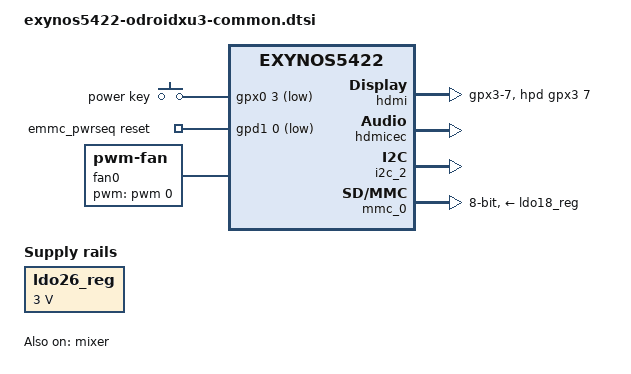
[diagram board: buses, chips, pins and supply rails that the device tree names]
// SPDX-License-Identifier: GPL-2.0
/*
 * Hardkernel Odroid XU3/XU3-Lite/XU4 boards common device tree source
 *
 * Copyright (c) 2013 Samsung Electronics Co., Ltd.
 *		http://www.samsung.com
 * Copyright (c) 2014 Collabora Ltd.
 * Copyright (c) 2015 Lukasz Majewski <l.majewski@samsung.com>
 *                    Anand Moon <linux.amoon@gmail.com>
 */

#include <dt-bindings/input/input.h>
#include "exynos5422-odroid-core.dtsi"

/ {
	gpio-keys {
		compatible = "gpio-keys";
		pinctrl-names = "default";
		pinctrl-0 = <&power_key>;

		power-key {
			/*
			 * The power button (SW2) is connected to the PWRON
			 * pin (active high) of the S2MPS11 PMIC, which acts
			 * as a 16ms debouce filter and signal inverter with
			 * output on ONOB pin (active low). ONOB PMIC pin is
			 * then connected to XEINT3 SoC pin.
			 */
			gpios = <&gpx0 3 GPIO_ACTIVE_LOW>;
			linux,code = <KEY_POWER>;
			label = "power key";
			debounce-interval = <0>;
			wakeup-source;
		};
	};

	emmc_pwrseq: pwrseq {
		pinctrl-0 = <&emmc_nrst_pin>;
		pinctrl-names = "default";
		compatible = "mmc-pwrseq-emmc";
		reset-gpios = <&gpd1 0 GPIO_ACTIVE_LOW>;
	};

	fan0: pwm-fan {
		compatible = "pwm-fan";
		pwms = <&pwm 0 20972 0>;
		#cooling-cells = <2>;
		cooling-levels = <0 130 170 230>;
	};

	thermal-zones {
		cpu0_thermal: cpu0-thermal {
			thermal-sensors = <&tmu_cpu0>;
			polling-delay-passive = <250>;
			polling-delay = <0>;
			trips {
				cpu0_alert0: cpu-alert-0 {
					temperature = <50000>; /* millicelsius */
					hysteresis = <5000>; /* millicelsius */
					type = "active";
				};
				cpu0_alert1: cpu-alert-1 {
					temperature = <60000>; /* millicelsius */
					hysteresis = <5000>; /* millicelsius */
					type = "active";
				};
				cpu0_alert2: cpu-alert-2 {
					temperature = <70000>; /* millicelsius */
					hysteresis = <5000>; /* millicelsius */
					type = "active";
				};
				cpu0_crit0: cpu-crit-0 {
					temperature = <120000>; /* millicelsius */
					hysteresis = <0>; /* millicelsius */
					type = "critical";
				};
				/*
				 * Exynos542x supports only 4 trip-points
				 * so for these polling mode is required.
				 * Start polling at temperature level of last
				 * interrupt-driven trip: cpu0_alert2
				 */
				cpu0_alert3: cpu-alert-3 {
					temperature = <70000>; /* millicelsius */
					hysteresis = <10000>; /* millicelsius */
					type = "passive";
				};
				cpu0_alert4: cpu-alert-4 {
					temperature = <85000>; /* millicelsius */
					hysteresis = <10000>; /* millicelsius */
					type = "passive";
				};
			};
			cooling-maps {
				map0 {
					trip = <&cpu0_alert0>;
					cooling-device = <&fan0 0 1>;
				};
				map1 {
					trip = <&cpu0_alert1>;
					cooling-device = <&fan0 1 2>;
				};
				map2 {
					trip = <&cpu0_alert2>;
					cooling-device = <&fan0 2 3>;
				};
				/*
				 * When reaching cpu0_alert3, reduce CPU
				 * by 2 steps. On Exynos5422/5800 that would
				 * (usually) be: 1800 MHz and 1200 MHz.
				 */
				map3 {
					trip = <&cpu0_alert3>;
					cooling-device = <&cpu0 0 2>,
							 <&cpu1 0 2>,
							 <&cpu2 0 2>,
							 <&cpu3 0 2>,
							 <&cpu4 0 2>,
							 <&cpu5 0 2>,
							 <&cpu6 0 2>,
							 <&cpu7 0 2>;
				};
				/*
				 * When reaching cpu0_alert4, reduce CPU
				 * further, down to 600 MHz (14 steps for big,
				 * 8 steps for LITTLE).
				 */
				cpu0_cooling_map4: map4 {
					trip = <&cpu0_alert4>;
					cooling-device = <&cpu0 3 8>,
							 <&cpu1 3 8>,
							 <&cpu2 3 8>,
							 <&cpu3 3 8>,
							 <&cpu4 3 14>,
							 <&cpu5 3 14>,
							 <&cpu6 3 14>,
							 <&cpu7 3 14>;
				};
			};
		};
		cpu1_thermal: cpu1-thermal {
			thermal-sensors = <&tmu_cpu1>;
			polling-delay-passive = <250>;
			polling-delay = <0>;
			trips {
				cpu1_alert0: cpu-alert-0 {
					temperature = <50000>;
					hysteresis = <5000>;
					type = "active";
				};
				cpu1_alert1: cpu-alert-1 {
					temperature = <60000>;
					hysteresis = <5000>;
					type = "active";
				};
				cpu1_alert2: cpu-alert-2 {
					temperature = <70000>;
					hysteresis = <5000>;
					type = "active";
				};
				cpu1_crit0: cpu-crit-0 {
					temperature = <120000>;
					hysteresis = <0>;
					type = "critical";
				};
				cpu1_alert3: cpu-alert-3 {
					temperature = <70000>;
					hysteresis = <10000>;
					type = "passive";
				};
				cpu1_alert4: cpu-alert-4 {
					temperature = <85000>;
					hysteresis = <10000>;
					type = "passive";
				};
			};
			cooling-maps {
				map0 {
					trip = <&cpu1_alert0>;
					cooling-device = <&fan0 0 1>;
				};
				map1 {
					trip = <&cpu1_alert1>;
					cooling-device = <&fan0 1 2>;
				};
				map2 {
					trip = <&cpu1_alert2>;
					cooling-device = <&fan0 2 3>;
				};
				map3 {
					trip = <&cpu1_alert3>;
					cooling-device = <&cpu0 0 2>,
							 <&cpu1 0 2>,
							 <&cpu2 0 2>,
							 <&cpu3 0 2>,
							 <&cpu4 0 2>,
							 <&cpu5 0 2>,
							 <&cpu6 0 2>,
							 <&cpu7 0 2>;
				};
				cpu1_cooling_map4: map4 {
					trip = <&cpu1_alert4>;
					cooling-device = <&cpu0 3 8>,
							 <&cpu1 3 8>,
							 <&cpu2 3 8>,
							 <&cpu3 3 8>,
							 <&cpu4 3 14>,
							 <&cpu5 3 14>,
							 <&cpu6 3 14>,
							 <&cpu7 3 14>;
				};
			};
		};
		cpu2_thermal: cpu2-thermal {
			thermal-sensors = <&tmu_cpu2>;
			polling-delay-passive = <250>;
			polling-delay = <0>;
			trips {
				cpu2_alert0: cpu-alert-0 {
					temperature = <50000>;
					hysteresis = <5000>;
					type = "active";
				};
				cpu2_alert1: cpu-alert-1 {
					temperature = <60000>;
					hysteresis = <5000>;
					type = "active";
				};
				cpu2_alert2: cpu-alert-2 {
					temperature = <70000>;
					hysteresis = <5000>;
					type = "active";
				};
				cpu2_crit0: cpu-crit-0 {
					temperature = <120000>;
					hysteresis = <0>;
					type = "critical";
				};
				cpu2_alert3: cpu-alert-3 {
					temperature = <70000>;
					hysteresis = <10000>;
					type = "passive";
				};
				cpu2_alert4: cpu-alert-4 {
					temperature = <85000>;
					hysteresis = <10000>;
					type = "passive";
				};
			};
			cooling-maps {
				map0 {
					trip = <&cpu2_alert0>;
					cooling-device = <&fan0 0 1>;
				};
				map1 {
					trip = <&cpu2_alert1>;
					cooling-device = <&fan0 1 2>;
				};
				map2 {
					trip = <&cpu2_alert2>;
					cooling-device = <&fan0 2 3>;
				};
				map3 {
					trip = <&cpu2_alert3>;
					cooling-device = <&cpu0 0 2>,
							 <&cpu1 0 2>,
							 <&cpu2 0 2>,
							 <&cpu3 0 2>,
							 <&cpu4 0 2>,
							 <&cpu5 0 2>,
							 <&cpu6 0 2>,
							 <&cpu7 0 2>;
				};
				cpu2_cooling_map4: map4 {
					trip = <&cpu2_alert4>;
					cooling-device = <&cpu0 3 8>,
							 <&cpu1 3 8>,
							 <&cpu2 3 8>,
							 <&cpu3 3 8>,
							 <&cpu4 3 14>,
							 <&cpu5 3 14>,
							 <&cpu6 3 14>,
							 <&cpu7 3 14>;
				};
			};
		};
		cpu3_thermal: cpu3-thermal {
			thermal-sensors = <&tmu_cpu3>;
			polling-delay-passive = <250>;
			polling-delay = <0>;
			trips {
				cpu3_alert0: cpu-alert-0 {
					temperature = <50000>;
					hysteresis = <5000>;
					type = "active";
				};
				cpu3_alert1: cpu-alert-1 {
					temperature = <60000>;
					hysteresis = <5000>;
					type = "active";
				};
				cpu3_alert2: cpu-alert-2 {
					temperature = <70000>;
					hysteresis = <5000>;
					type = "active";
				};
				cpu3_crit0: cpu-crit-0 {
					temperature = <120000>;
					hysteresis = <0>;
					type = "critical";
				};
				cpu3_alert3: cpu-alert-3 {
					temperature = <70000>;
					hysteresis = <10000>;
					type = "passive";
				};
				cpu3_alert4: cpu-alert-4 {
					temperature = <85000>;
					hysteresis = <10000>;
					type = "passive";
				};
			};
			cooling-maps {
				map0 {
					trip = <&cpu3_alert0>;
					cooling-device = <&fan0 0 1>;
				};
				map1 {
					trip = <&cpu3_alert1>;
					cooling-device = <&fan0 1 2>;
				};
				map2 {
					trip = <&cpu3_alert2>;
					cooling-device = <&fan0 2 3>;
				};
				map3 {
					trip = <&cpu3_alert3>;
					cooling-device = <&cpu0 0 2>,
							 <&cpu1 0 2>,
							 <&cpu2 0 2>,
							 <&cpu3 0 2>,
							 <&cpu4 0 2>,
							 <&cpu5 0 2>,
							 <&cpu6 0 2>,
							 <&cpu7 0 2>;
				};
				cpu3_cooling_map4: map4 {
					trip = <&cpu3_alert4>;
					cooling-device = <&cpu0 3 8>,
							 <&cpu1 3 8>,
							 <&cpu2 3 8>,
							 <&cpu3 3 8>,
							 <&cpu4 3 14>,
							 <&cpu5 3 14>,
							 <&cpu6 3 14>,
							 <&cpu7 3 14>;
				};
			};
		};
		gpu_thermal: gpu-thermal {
			thermal-sensors = <&tmu_gpu>;
			polling-delay-passive = <250>;
			polling-delay = <0>;
			trips {
				gpu_alert0: gpu-alert-0 {
					temperature = <50000>;
					hysteresis = <5000>;
					type = "active";
				};
				gpu_alert1: gpu-alert-1 {
					temperature = <60000>;
					hysteresis = <5000>;
					type = "active";
				};
				gpu_alert2: gpu-alert-2 {
					temperature = <70000>;
					hysteresis = <5000>;
					type = "active";
				};
				gpu_crit0: gpu-crit-0 {
					temperature = <120000>;
					hysteresis = <0>;
					type = "critical";
				};
				gpu_alert3: gpu-alert-3 {
					temperature = <70000>;
					hysteresis = <10000>;
					type = "passive";
				};
				gpu_alert4: gpu-alert-4 {
					temperature = <85000>;
					hysteresis = <10000>;
					type = "passive";
				};
			};
			cooling-maps {
				map0 {
					trip = <&gpu_alert0>;
					cooling-device = <&fan0 0 1>;
				};
				map1 {
					trip = <&gpu_alert1>;
					cooling-device = <&fan0 1 2>;
				};
				map2 {
					trip = <&gpu_alert2>;
					cooling-device = <&fan0 2 3>;
				};
				map3 {
					trip = <&gpu_alert3>;
					cooling-device = <&gpu 0 2>;
				};
				map4 {
					trip = <&gpu_alert4>;
					cooling-device = <&gpu 3 6>;
				};
			};
		};
	};
};

&buck10_reg {
	/* Supplies vmmc-supply of mmc_0 */
	regulator-always-on;
	regulator-boot-on;
};

&hdmi {
	status = "okay";
	ddc = <&i2c_2>;
	hpd-gpios = <&gpx3 7 GPIO_ACTIVE_HIGH>;
	pinctrl-names = "default";
	pinctrl-0 = <&hdmi_hpd_irq>;

	vdd_osc-supply = <&ldo7_reg>;
	vdd_pll-supply = <&ldo6_reg>;
	vdd-supply = <&ldo6_reg>;
};

&hdmicec {
	status = "okay";
	needs-hpd;
};

&i2c_2 {
	samsung,i2c-sda-delay = <100>;
	samsung,i2c-max-bus-freq = <66000>;
	/* used by HDMI DDC */
	status = "okay";
};

&ldo26_reg {
	regulator-min-microvolt = <3000000>;
	regulator-max-microvolt = <3000000>;
	regulator-always-on;
};

&mixer {
	status = "okay";
};

&mmc_0 {
	status = "okay";
	mmc-pwrseq = <&emmc_pwrseq>;
	card-detect-delay = <200>;
	samsung,dw-mshc-ciu-div = <3>;
	samsung,dw-mshc-sdr-timing = <0 4>;
	samsung,dw-mshc-ddr-timing = <0 2>;
	samsung,dw-mshc-hs400-timing = <0 2>;
	samsung,read-strobe-delay = <90>;
	pinctrl-names = "default";
	pinctrl-0 = <&sd0_clk &sd0_cmd &sd0_bus1 &sd0_bus4 &sd0_bus8 &sd0_cd &sd0_rclk>;
	bus-width = <8>;
	cap-mmc-highspeed;
	mmc-hs200-1_8v;
	mmc-hs400-1_8v;
	max-frequency = <200000000>;
	vmmc-supply = <&ldo18_reg>;
	vqmmc-supply = <&ldo3_reg>;
};

&pinctrl_0 {
	power_key: power-key-pins {
		samsung,pins = "gpx0-3";
		samsung,pin-function = <EXYNOS_PIN_FUNC_INPUT>;
		samsung,pin-pud = <EXYNOS_PIN_PULL_NONE>;
		samsung,pin-drv = <EXYNOS5420_PIN_DRV_LV1>;
	};

	hdmi_hpd_irq: hdmi-hpd-irq-pins {
		samsung,pins = "gpx3-7";
		samsung,pin-function = <EXYNOS_PIN_FUNC_INPUT>;
		samsung,pin-pud = <EXYNOS_PIN_PULL_DOWN>;
		samsung,pin-drv = <EXYNOS5420_PIN_DRV_LV1>;
	};
};

&pinctrl_1 {
	emmc_nrst_pin: emmc-nrst-pins {
		samsung,pins = "gpd1-0";
		samsung,pin-function = <EXYNOS_PIN_FUNC_INPUT>;
		samsung,pin-pud = <EXYNOS_PIN_PULL_NONE>;
		samsung,pin-drv = <EXYNOS5420_PIN_DRV_LV1>;
	};
};
